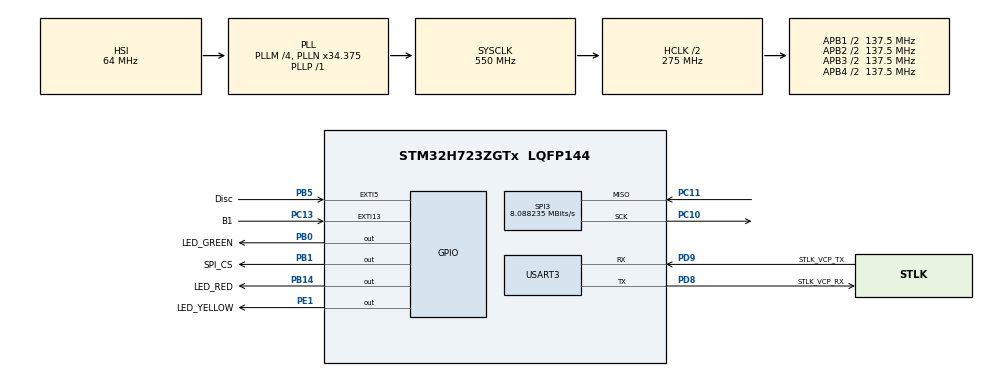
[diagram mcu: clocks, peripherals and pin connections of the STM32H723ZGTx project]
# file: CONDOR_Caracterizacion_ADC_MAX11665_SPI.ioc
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CORTEX_M7.default_mode_Activation=1
Mcu.Family=STM32H7
Mcu.Name=STM32H723ZGTx
Mcu.Package=LQFP144
NVIC.EXTI15_10_IRQn=true\:0\:0\:false\:false\:true\:true\:true\:true
NVIC.EXTI9_5_IRQn=true\:0\:0\:false\:false\:true\:true\:true\:true
NVIC.PriorityGroup=NVIC_PRIORITYGROUP_4
PA13(JTMS/SWDIO).GPIO_Label=SWDIO
PA13(JTMS/SWDIO).Signal=DEBUG_JTMS-SWDIO
PA14(JTCK/SWCLK).GPIO_Label=SWCLK
PA14(JTCK/SWCLK).Signal=DEBUG_JTCK-SWCLK
PB0.GPIO_Label=LED_GREEN
PB0.Signal=GPIO_Output
PB1.GPIO_Label=SPI_CS
PB1.GPIO_PuPd=GPIO_NOPULL
PB1.GPIO_Speed=GPIO_SPEED_FREQ_VERY_HIGH
PB1.PinState=GPIO_PIN_SET
PB1.Signal=GPIO_Output
PB14.GPIO_Label=LED_RED
PB14.Signal=GPIO_Output
PB5.GPIO_Label=Disc
PB5.GPIO_ModeDefaultEXTI=GPIO_MODE_IT_FALLING
PB5.Signal=GPXTI5
PC10.Mode=RX_Only_Simplex_Unidirect_Master
PC10.Signal=SPI3_SCK
PC11.Mode=RX_Only_Simplex_Unidirect_Master
PC11.Signal=SPI3_MISO
PC13.GPIO_Label=B1
PC13.GPIO_ModeDefaultEXTI=GPIO_MODE_IT_FALLING
PC13.Signal=GPXTI13
PC14-OSC32_IN.Signal=RCC_OSC32_IN
PC15-OSC32_OUT.Signal=RCC_OSC32_OUT
PD8.GPIO_Label=STLK_VCP_RX
PD8.Mode=Asynchronous
PD8.Signal=USART3_TX
PD9.GPIO_Label=STLK_VCP_TX
PD9.Mode=Asynchronous
PD9.Signal=USART3_RX
PE1.GPIO_Label=LED_YELLOW
PE1.Signal=GPIO_Output
ProjectManager.HeapSize=0x200
ProjectManager.StackSize=0x400
ProjectManager.TargetToolchain=STM32CubeIDE
RCC.ADCFreq_Value=608000000
RCC.APB1Freq_Value=137500000
RCC.APB2Freq_Value=137500000
RCC.APB3Freq_Value=137500000
RCC.APB4Freq_Value=137500000
RCC.CortexFreq_Value=550000000
RCC.D1PPRE=RCC_APB3_DIV2
RCC.D2PPRE1=RCC_APB1_DIV2
RCC.D2PPRE2=RCC_APB2_DIV2
RCC.D3PPRE=RCC_APB4_DIV2
RCC.DIVM1=4
RCC.DIVM2=1
RCC.DIVN1=34
RCC.DIVN2=19
RCC.DIVP1=1
RCC.DIVQ1=34
RCC.HCLKFreq_Value=275000000
RCC.HPRE=RCC_HCLK_DIV2
RCC.HSE_VALUE=8000000
RCC.PLLFRACN=3072
RCC.SYSCLKFreq_VALUE=550000000
RCC.SYSCLKSource=RCC_SYSCLKSOURCE_PLLCLK
RCC.USBCLockSelection=RCC_USBCLKSOURCE_HSI48
RCC.USBFreq_Value=48000000
SPI3.BaudRatePrescaler=SPI_BAUDRATEPRESCALER_2
SPI3.CalculateBaudRate=8.088235 MBits/s
SPI3.DataSize=SPI_DATASIZE_16BIT
SPI3.Direction=SPI_DIRECTION_2LINES_RXONLY
SPI3.Mode=SPI_MODE_MASTER
SPI3.VirtualType=VM_MASTER
USART3.VirtualMode-Asynchronous=VM_ASYNC
VP_MEMORYMAP_VS_MEMORYMAP.Mode=CurAppReg
board=NUCLEO-H723ZG

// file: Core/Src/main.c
/* USER CODE BEGIN Header */
/**
  ******************************************************************************
  * @file           : main.c
  * @brief          : Main program body
  ******************************************************************************
  * @attention
  *
  * Copyright (c) 2025 STMicroelectronics.
  * All rights reserved.
  *
  * This software is licensed under terms that can be found in the LICENSE file
  * in the root directory of this software component.
  * If no LICENSE file comes with this software, it is provided AS-IS.
  *
  ******************************************************************************
  */
/* USER CODE END Header */
#include "main.h"

/* USER CODE BEGIN Includes */
#include <string.h>
#include <stdio.h>
/* USER CODE END Includes */

/* USER CODE BEGIN PD */
#define PUTCHAR_PROTOTYPE int __io_putchar(int ch)
#define UART_PORT_HANDLE_DEBUG	huart3	// Port handle where debug msgs are shown.
#define CONDOR_DEBUG_MODE	1	// 1 to enable debug.
#define CONDOR_SPI_TIMEOUT_MS 	100
#define CONDOR_UART_TIMEOUT_MS 	100
#define CONDOR_UART_BUF_SIZE	50	// Bytes.
#define CONDOR_ADC_DATA_SIZE	1	// Bytes (12 bits adc). 1 Byte of 16 bits.
					// Can use 2 bytes of 8 bits too.
#define CONDOR_ADC_VOLT_REF	3.3f	// Use float.
#define CONDOR_ADC_COUNT_MAX	4095.0f	// 2^12 - 1. Use float.
#define CONDOR_SPI_CS_PORT	GPIOB
#define CONDOR_SPI_CS_PIN	GPIO_PIN_1

#define CONDOR_DISC_PORT	GPIOB
#define CONDOR_DISC_PIN		GPIO_PIN_5	// PB5.
#define CONDOR_DISC_TEST_PORT	GPIOC		// User button for testing.
#define CONDOR_DISC_TEST_PIN	GPIO_PIN_13	// User button for testing.
/* USER CODE END PD */

SPI_HandleTypeDef hspi3;

UART_HandleTypeDef huart3;

void SystemClock_Config(void);
static void MPU_Config(void);
static void MX_GPIO_Init(void);
static void MX_SPI3_Init(void);
static void MX_USART3_UART_Init(void);

/* USER CODE BEGIN 0 */
volatile uint32_t event_count = 0;

uint8_t spi_cs_state = GPIO_PIN_RESET;
double adc_voltage = 0.0;
uint16_t spi_rx_buf[CONDOR_ADC_DATA_SIZE] = {0};

uint8_t new_adc_data = 0;		// To perform the ADC reading outside the ISR.
uint8_t disc_enable = GPIO_PIN_SET; 	// To disable the discriminator while ADC is busy reading data.

/* USER CODE END 0 */

int main(void)
{

  /* MPU Configuration--------------------------------------------------------*/
  MPU_Config();

  /* MCU Configuration--------------------------------------------------------*/

  /* Reset of all peripherals, Initializes the Flash interface and the Systick. */
  HAL_Init();

  /* Configure the system clock */
  SystemClock_Config();

  /* Initialize all configured peripherals */
  MX_GPIO_Init();
  MX_SPI3_Init();
  MX_USART3_UART_Init();

  /* Infinite loop */
  /* USER CODE BEGIN WHILE */
#if CONDOR_DEBUG_MODE
  	printf("CONDOR_Caracterizacion_ADC_MAX11665_SPI\n");
	printf("Starting main loop.\n");
#endif
  while (1)
  {
    /* USER CODE END WHILE */

    /* USER CODE BEGIN 3 */
	  if (new_adc_data) {
		  // TODO: Check if amplifier gain should be used to adjust reading.
		  // TODO: Check if 1st bit is a zero.
#if CONDOR_DEBUG_MODE
//		  printf("spiRx: [%u] \n", spi_rx_buf[0]);
#endif
		  static uint16_t adc_cnt = 0;
		  // NOTE: Use this settings to get correct readings:
		  // - For .ioc file: SPI mode = Receive only master use 3 bits shift.
		  // - For .ioc file: SPI mode = Full master duplex use 2 bits shift.
		  // - In any of the previous cases use CPHA / CPOL = 0 (set in .ioc file).
		  // The change in SPI mode unexpectedly changes SCK polarity
		  // (verified with logic analyzer).
		  adc_cnt = 0;
		  adc_cnt = spi_rx_buf[0] >> 3;
#if CONDOR_DEBUG_MODE
		  printf("Adc cnt: %u\n", adc_cnt);
#endif
		  adc_voltage = 0.0;
		  adc_voltage = (adc_cnt / CONDOR_ADC_COUNT_MAX) * CONDOR_ADC_VOLT_REF;
		  spi_rx_buf[0] = 0;

#if CONDOR_DEBUG_MODE
//		  if (event_count / 100 == 1) {
			  printf("%.3f\n", adc_voltage);
			  event_count = 0;
//		  }
#endif
		  new_adc_data = 0;
	  }
  }
  /* USER CODE END 3 */
}

void SystemClock_Config(void)
{
  RCC_OscInitTypeDef RCC_OscInitStruct = {0};
  RCC_ClkInitTypeDef RCC_ClkInitStruct = {0};

  /** Supply configuration update enable
  */
  HAL_PWREx_ConfigSupply(PWR_LDO_SUPPLY);

  /** Configure the main internal regulator output voltage
  */
  __HAL_PWR_VOLTAGESCALING_CONFIG(PWR_REGULATOR_VOLTAGE_SCALE0);

  while(!__HAL_PWR_GET_FLAG(PWR_FLAG_VOSRDY)) {}

  /** Initializes the RCC Oscillators according to the specified parameters
  * in the RCC_OscInitTypeDef structure.
  */
  RCC_OscInitStruct.OscillatorType = RCC_OSCILLATORTYPE_HSI;
  RCC_OscInitStruct.HSIState = RCC_HSI_DIV1;
  RCC_OscInitStruct.HSICalibrationValue = 64;
  RCC_OscInitStruct.PLL.PLLState = RCC_PLL_ON;
  RCC_OscInitStruct.PLL.PLLSource = RCC_PLLSOURCE_HSI;
  RCC_OscInitStruct.PLL.PLLM = 4;
  RCC_OscInitStruct.PLL.PLLN = 34;
  RCC_OscInitStruct.PLL.PLLP = 1;
  RCC_OscInitStruct.PLL.PLLQ = 34;
  RCC_OscInitStruct.PLL.PLLR = 2;
  RCC_OscInitStruct.PLL.PLLRGE = RCC_PLL1VCIRANGE_3;
  RCC_OscInitStruct.PLL.PLLVCOSEL = RCC_PLL1VCOWIDE;
  RCC_OscInitStruct.PLL.PLLFRACN = 3072;
  if (HAL_RCC_OscConfig(&RCC_OscInitStruct) != HAL_OK)
  {
    Error_Handler();
  }

  /** Initializes the CPU, AHB and APB buses clocks
  */
  RCC_ClkInitStruct.ClockType = RCC_CLOCKTYPE_HCLK|RCC_CLOCKTYPE_SYSCLK
                              |RCC_CLOCKTYPE_PCLK1|RCC_CLOCKTYPE_PCLK2
                              |RCC_CLOCKTYPE_D3PCLK1|RCC_CLOCKTYPE_D1PCLK1;
  RCC_ClkInitStruct.SYSCLKSource = RCC_SYSCLKSOURCE_PLLCLK;
  RCC_ClkInitStruct.SYSCLKDivider = RCC_SYSCLK_DIV1;
  RCC_ClkInitStruct.AHBCLKDivider = RCC_HCLK_DIV2;
  RCC_ClkInitStruct.APB3CLKDivider = RCC_APB3_DIV2;
  RCC_ClkInitStruct.APB1CLKDivider = RCC_APB1_DIV2;
  RCC_ClkInitStruct.APB2CLKDivider = RCC_APB2_DIV2;
  RCC_ClkInitStruct.APB4CLKDivider = RCC_APB4_DIV2;

  if (HAL_RCC_ClockConfig(&RCC_ClkInitStruct, FLASH_LATENCY_3) != HAL_OK)
  {
    Error_Handler();
  }
}

static void MX_SPI3_Init(void)
{

  /* SPI3 parameter configuration*/
  hspi3.Instance = SPI3;
  hspi3.Init.Mode = SPI_MODE_MASTER;
  hspi3.Init.Direction = SPI_DIRECTION_2LINES_RXONLY;
  hspi3.Init.DataSize = SPI_DATASIZE_16BIT;
  hspi3.Init.CLKPolarity = SPI_POLARITY_LOW;
  hspi3.Init.CLKPhase = SPI_PHASE_1EDGE;
  hspi3.Init.NSS = SPI_NSS_SOFT;
  hspi3.Init.BaudRatePrescaler = SPI_BAUDRATEPRESCALER_2;
  hspi3.Init.FirstBit = SPI_FIRSTBIT_MSB;
  hspi3.Init.TIMode = SPI_TIMODE_DISABLE;
  hspi3.Init.CRCCalculation = SPI_CRCCALCULATION_DISABLE;
  hspi3.Init.CRCPolynomial = 0x0;
  hspi3.Init.NSSPMode = SPI_NSS_PULSE_ENABLE;
  hspi3.Init.NSSPolarity = SPI_NSS_POLARITY_LOW;
  hspi3.Init.FifoThreshold = SPI_FIFO_THRESHOLD_01DATA;
  hspi3.Init.TxCRCInitializationPattern = SPI_CRC_INITIALIZATION_ALL_ZERO_PATTERN;
  hspi3.Init.RxCRCInitializationPattern = SPI_CRC_INITIALIZATION_ALL_ZERO_PATTERN;
  hspi3.Init.MasterSSIdleness = SPI_MASTER_SS_IDLENESS_00CYCLE;
  hspi3.Init.MasterInterDataIdleness = SPI_MASTER_INTERDATA_IDLENESS_00CYCLE;
  hspi3.Init.MasterReceiverAutoSusp = SPI_MASTER_RX_AUTOSUSP_DISABLE;
  hspi3.Init.MasterKeepIOState = SPI_MASTER_KEEP_IO_STATE_DISABLE;
  hspi3.Init.IOSwap = SPI_IO_SWAP_DISABLE;
  if (HAL_SPI_Init(&hspi3) != HAL_OK)
  {
    Error_Handler();
  }

}

static void MX_USART3_UART_Init(void)
{

  huart3.Instance = USART3;
  huart3.Init.BaudRate = 115200;
  huart3.Init.WordLength = UART_WORDLENGTH_8B;
  huart3.Init.StopBits = UART_STOPBITS_1;
  huart3.Init.Parity = UART_PARITY_NONE;
  huart3.Init.Mode = UART_MODE_TX_RX;
  huart3.Init.HwFlowCtl = UART_HWCONTROL_NONE;
  huart3.Init.OverSampling = UART_OVERSAMPLING_16;
  huart3.Init.OneBitSampling = UART_ONE_BIT_SAMPLE_DISABLE;
  huart3.Init.ClockPrescaler = UART_PRESCALER_DIV1;
  huart3.AdvancedInit.AdvFeatureInit = UART_ADVFEATURE_NO_INIT;
  if (HAL_UART_Init(&huart3) != HAL_OK)
  {
    Error_Handler();
  }
  if (HAL_UARTEx_SetTxFifoThreshold(&huart3, UART_TXFIFO_THRESHOLD_1_8) != HAL_OK)
  {
    Error_Handler();
  }
  if (HAL_UARTEx_SetRxFifoThreshold(&huart3, UART_RXFIFO_THRESHOLD_1_8) != HAL_OK)
  {
    Error_Handler();
  }
  if (HAL_UARTEx_DisableFifoMode(&huart3) != HAL_OK)
  {
    Error_Handler();
  }

}

static void MX_GPIO_Init(void)
{
  GPIO_InitTypeDef GPIO_InitStruct = {0};

  /* GPIO Ports Clock Enable */
  __HAL_RCC_GPIOC_CLK_ENABLE();
  __HAL_RCC_GPIOB_CLK_ENABLE();
  __HAL_RCC_GPIOD_CLK_ENABLE();
  __HAL_RCC_GPIOA_CLK_ENABLE();
  __HAL_RCC_GPIOE_CLK_ENABLE();

  /*Configure GPIO pin Output Level */
  HAL_GPIO_WritePin(GPIOB, LED_GREEN_Pin|LED_RED_Pin, GPIO_PIN_RESET);

  /*Configure GPIO pin Output Level */
  HAL_GPIO_WritePin(SPI_CS_GPIO_Port, SPI_CS_Pin, GPIO_PIN_SET);

  /*Configure GPIO pin Output Level */
  HAL_GPIO_WritePin(LED_YELLOW_GPIO_Port, LED_YELLOW_Pin, GPIO_PIN_RESET);

  /*Configure GPIO pin : B1_Pin */
  GPIO_InitStruct.Pin = B1_Pin;
  GPIO_InitStruct.Mode = GPIO_MODE_IT_FALLING;
  GPIO_InitStruct.Pull = GPIO_NOPULL;
  HAL_GPIO_Init(B1_GPIO_Port, &GPIO_InitStruct);

  /*Configure GPIO pins : LED_GREEN_Pin LED_RED_Pin */
  GPIO_InitStruct.Pin = LED_GREEN_Pin|LED_RED_Pin;
  GPIO_InitStruct.Mode = GPIO_MODE_OUTPUT_PP;
  GPIO_InitStruct.Pull = GPIO_NOPULL;
  GPIO_InitStruct.Speed = GPIO_SPEED_FREQ_LOW;
  HAL_GPIO_Init(GPIOB, &GPIO_InitStruct);

  /*Configure GPIO pin : SPI_CS_Pin */
  GPIO_InitStruct.Pin = SPI_CS_Pin;
  GPIO_InitStruct.Mode = GPIO_MODE_OUTPUT_PP;
  GPIO_InitStruct.Pull = GPIO_NOPULL;
  GPIO_InitStruct.Speed = GPIO_SPEED_FREQ_VERY_HIGH;
  HAL_GPIO_Init(SPI_CS_GPIO_Port, &GPIO_InitStruct);

  /*Configure GPIO pin : Disc_Pin */
  GPIO_InitStruct.Pin = Disc_Pin;
  GPIO_InitStruct.Mode = GPIO_MODE_IT_FALLING;
  GPIO_InitStruct.Pull = GPIO_NOPULL;
  HAL_GPIO_Init(Disc_GPIO_Port, &GPIO_InitStruct);

  /*Configure GPIO pin : LED_YELLOW_Pin */
  GPIO_InitStruct.Pin = LED_YELLOW_Pin;
  GPIO_InitStruct.Mode = GPIO_MODE_OUTPUT_PP;
  GPIO_InitStruct.Pull = GPIO_NOPULL;
  GPIO_InitStruct.Speed = GPIO_SPEED_FREQ_LOW;
  HAL_GPIO_Init(LED_YELLOW_GPIO_Port, &GPIO_InitStruct);

  /* EXTI interrupt init*/
  HAL_NVIC_SetPriority(Disc_EXTI_IRQn, 0, 0);
  HAL_NVIC_EnableIRQ(Disc_EXTI_IRQn);

  HAL_NVIC_SetPriority(B1_EXTI_IRQn, 0, 0);
  HAL_NVIC_EnableIRQ(B1_EXTI_IRQn);

}

/* USER CODE BEGIN 4 */
void HAL_GPIO_EXTI_Callback(uint16_t GPIO_Pin)
{
//	printf("EXTI\n");
//	printf("%X\n", GPIO_Pin);
	// NOTE: Use the user button connected to PC13 for testing.
	if ((GPIO_Pin == CONDOR_DISC_PIN) || (GPIO_Pin == CONDOR_DISC_TEST_PIN)) {
		HAL_GPIO_WritePin(CONDOR_SPI_CS_PORT, CONDOR_SPI_CS_PIN, GPIO_PIN_RESET);

		event_count++;

		HAL_GPIO_WritePin(CONDOR_SPI_CS_PORT, CONDOR_SPI_CS_PIN, GPIO_PIN_RESET);

		// Note: CS is simulated from function generator. Discriminator output = CS in this case.
//		HAL_StatusTypeDef status = HAL_OK;
//		if (HAL_SPI_Receive(&hspi3, spi_rx_buf, CONDOR_ADC_DATA_SIZE, CONDOR_SPI_TIMEOUT_MS) != HAL_OK) {
//			printf("SPI Error.\n");
//		}
		HAL_SPI_Receive(&hspi3, spi_rx_buf, CONDOR_ADC_DATA_SIZE, CONDOR_SPI_TIMEOUT_MS);

		HAL_GPIO_WritePin(CONDOR_SPI_CS_PORT, CONDOR_SPI_CS_PIN, GPIO_PIN_SET);

		new_adc_data = 1;
	}
}

/**
  * @brief  Retargets the C library printf function to the USART.
  *   None
  * @retval None
  */
PUTCHAR_PROTOTYPE
{
	/* Place your implementation of fputc here */
	/* e.g. write a character to the USART1 and Loop until the end of transmission */
	HAL_UART_Transmit(&UART_PORT_HANDLE_DEBUG, (uint8_t *)&ch, 1, 0xFFFF);

	return ch;
}
/* USER CODE END 4 */

 /* MPU Configuration */

void MPU_Config(void)
{
  MPU_Region_InitTypeDef MPU_InitStruct = {0};

  /* Disables the MPU */
  HAL_MPU_Disable();

  /** Initializes and configures the Region and the memory to be protected
  */
  MPU_InitStruct.Enable = MPU_REGION_ENABLE;
  MPU_InitStruct.Number = MPU_REGION_NUMBER0;
  MPU_InitStruct.BaseAddress = 0x0;
  MPU_InitStruct.Size = MPU_REGION_SIZE_4GB;
  MPU_InitStruct.SubRegionDisable = 0x87;
  MPU_InitStruct.TypeExtField = MPU_TEX_LEVEL0;
  MPU_InitStruct.AccessPermission = MPU_REGION_NO_ACCESS;
  MPU_InitStruct.DisableExec = MPU_INSTRUCTION_ACCESS_DISABLE;
  MPU_InitStruct.IsShareable = MPU_ACCESS_SHAREABLE;
  MPU_InitStruct.IsCacheable = MPU_ACCESS_NOT_CACHEABLE;
  MPU_InitStruct.IsBufferable = MPU_ACCESS_NOT_BUFFERABLE;

  HAL_MPU_ConfigRegion(&MPU_InitStruct);
  /* Enables the MPU */
  HAL_MPU_Enable(MPU_PRIVILEGED_DEFAULT);

}

void Error_Handler(void)
{
  __disable_irq();
  while (1)
  {
  }
}
